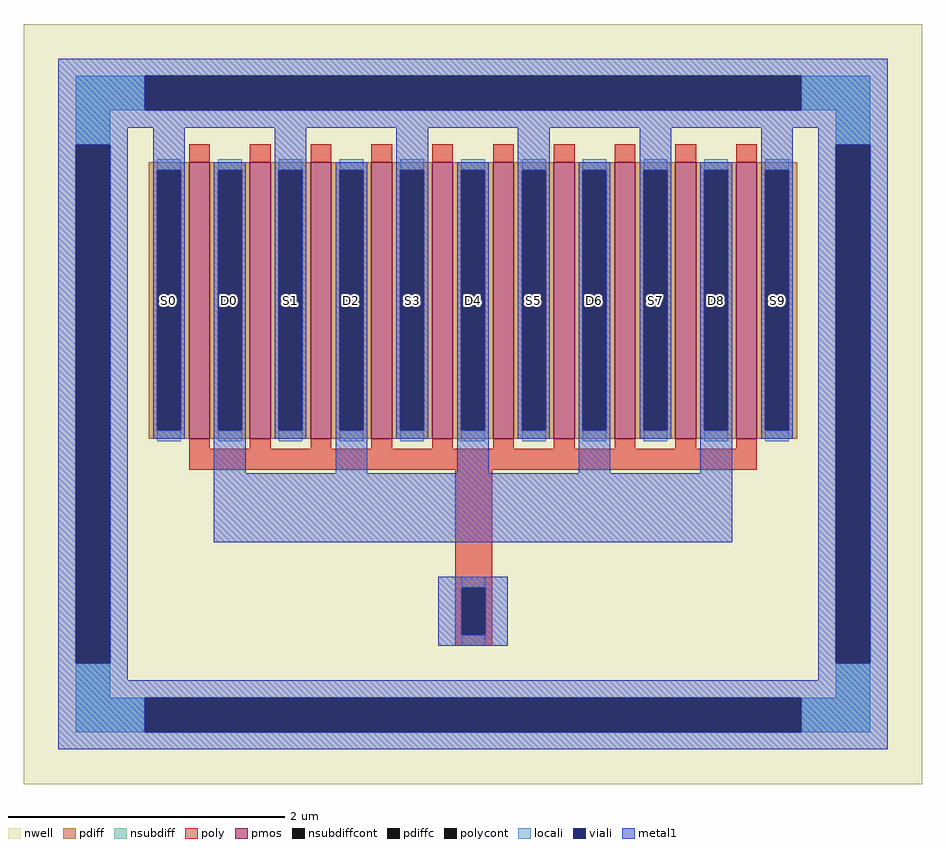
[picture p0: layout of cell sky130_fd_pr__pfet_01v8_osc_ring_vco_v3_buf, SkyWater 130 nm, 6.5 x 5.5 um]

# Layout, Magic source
magic
tech sky130A
magscale 1 2
<< nwell >>
rect -300 -350 1000 750
<< pmos >>
rect -61 150 -31 550
rect 27 150 57 550
rect 115 150 145 550
rect 203 150 233 550
rect 291 150 321 550
rect 379 150 409 550
rect 467 150 497 550
rect 555 150 585 550
rect 643 150 673 550
rect 731 150 761 550
<< pdiff >>
rect -119 538 -61 550
rect -119 162 -107 538
rect -73 162 -61 538
rect -119 150 -61 162
rect -31 538 27 550
rect -31 162 -19 538
rect 15 162 27 538
rect -31 150 27 162
rect 57 538 115 550
rect 57 162 69 538
rect 103 162 115 538
rect 57 150 115 162
rect 145 538 203 550
rect 145 162 157 538
rect 191 162 203 538
rect 145 150 203 162
rect 233 538 291 550
rect 233 162 245 538
rect 279 162 291 538
rect 233 150 291 162
rect 321 538 379 550
rect 321 162 333 538
rect 367 162 379 538
rect 321 150 379 162
rect 409 538 467 550
rect 409 162 421 538
rect 455 162 467 538
rect 409 150 467 162
rect 497 538 555 550
rect 497 162 509 538
rect 543 162 555 538
rect 497 150 555 162
rect 585 538 643 550
rect 585 162 597 538
rect 631 162 643 538
rect 585 150 643 162
rect 673 538 731 550
rect 673 162 685 538
rect 719 162 731 538
rect 673 150 731 162
rect 761 538 819 550
rect 761 162 773 538
rect 807 162 819 538
rect 761 150 819 162
<< pdiffc >>
rect -107 162 -73 538
rect -19 162 15 538
rect 69 162 103 538
rect 157 162 191 538
rect 245 162 279 538
rect 333 162 367 538
rect 421 162 455 538
rect 509 162 543 538
rect 597 162 631 538
rect 685 162 719 538
rect 773 162 807 538
<< nsubdiff >>
rect -225 625 -125 675
rect 825 625 925 675
rect -225 575 -175 625
rect 875 575 925 625
rect -225 -225 -175 -175
rect 875 -225 925 -175
rect -225 -275 -125 -225
rect 825 -275 925 -225
<< nsubdiffcont >>
rect -125 625 825 675
rect -225 -175 -175 575
rect 875 -175 925 575
rect -125 -275 825 -225
<< poly >>
rect -61 550 -31 576
rect 27 550 57 576
rect 115 550 145 576
rect 203 550 233 576
rect 291 550 321 576
rect 379 550 409 576
rect 467 550 497 576
rect 555 550 585 576
rect 643 550 673 576
rect 731 550 761 576
rect -61 135 -31 150
rect 27 135 57 150
rect 115 135 145 150
rect 203 135 233 150
rect 291 135 321 150
rect 379 135 409 150
rect 467 135 497 150
rect 555 135 585 150
rect 643 135 673 150
rect 731 135 761 150
rect -61 105 761 135
rect 324 -66 378 105
rect 324 -134 334 -66
rect 368 -134 378 -66
rect 324 -150 378 -134
<< polycont >>
rect 334 -134 368 -66
<< locali >>
rect -225 625 -125 675
rect 825 625 925 675
rect -225 575 -175 625
rect 875 575 925 625
rect -107 538 -73 554
rect -107 146 -73 162
rect -19 538 15 554
rect -19 146 15 162
rect 69 538 103 554
rect 69 146 103 162
rect 157 538 191 554
rect 157 146 191 162
rect 245 538 279 554
rect 245 146 279 162
rect 333 538 367 554
rect 333 146 367 162
rect 421 538 455 554
rect 421 146 455 162
rect 509 538 543 554
rect 509 146 543 162
rect 597 538 631 554
rect 597 146 631 162
rect 685 538 719 554
rect 685 146 719 162
rect 773 538 807 554
rect 773 146 807 162
rect 334 -66 368 -50
rect 334 -150 368 -134
rect -225 -225 -175 -175
rect 875 -225 925 -175
rect -225 -275 -125 -225
rect 825 -275 925 -225
<< viali >>
rect -125 625 825 675
rect -225 -175 -175 575
rect -107 162 -73 538
rect -19 162 15 538
rect 69 162 103 538
rect 157 162 191 538
rect 245 162 279 538
rect 333 162 367 538
rect 421 162 455 538
rect 509 162 543 538
rect 597 162 631 538
rect 685 162 719 538
rect 773 162 807 538
rect 334 -134 368 -66
rect 875 -175 925 575
rect -125 -275 825 -225
<< metal1 >>
rect -250 675 950 700
rect -250 625 -125 675
rect 825 625 950 675
rect -250 600 950 625
rect -250 575 -150 600
rect -250 -175 -225 575
rect -175 -175 -150 575
rect -113 538 -67 600
rect -113 162 -107 538
rect -73 162 -67 538
rect -113 150 -67 162
rect -25 538 21 550
rect -25 162 -19 538
rect 15 162 21 538
rect -25 100 21 162
rect 63 538 109 600
rect 63 162 69 538
rect 103 162 109 538
rect 63 150 109 162
rect 151 538 197 550
rect 151 162 157 538
rect 191 162 197 538
rect 151 100 197 162
rect 239 538 285 600
rect 239 162 245 538
rect 279 162 285 538
rect 239 150 285 162
rect 327 538 373 550
rect 327 162 333 538
rect 367 162 373 538
rect 327 100 373 162
rect 415 538 461 600
rect 415 162 421 538
rect 455 162 461 538
rect 415 150 461 162
rect 503 538 549 550
rect 503 162 509 538
rect 543 162 549 538
rect 503 100 549 162
rect 591 538 637 600
rect 591 162 597 538
rect 631 162 637 538
rect 591 150 637 162
rect 679 538 725 550
rect 679 162 685 538
rect 719 162 725 538
rect 679 100 725 162
rect 767 538 813 600
rect 767 162 773 538
rect 807 162 813 538
rect 767 150 813 162
rect 850 575 950 600
rect -25 0 725 100
rect 300 -66 400 -50
rect 300 -134 334 -66
rect 368 -134 400 -66
rect 300 -150 400 -134
rect -250 -200 -150 -175
rect 850 -175 875 575
rect 925 -175 950 575
rect 850 -200 950 -175
rect -250 -225 950 -200
rect -250 -275 -125 -225
rect 825 -275 950 -225
rect -250 -300 950 -275
<< labels >>
rlabel pdiffc -3 350 -3 350 0 D0
port 9 nsew
rlabel pdiffc -3 350 -3 350 0 D1
port 12 nsew
rlabel pdiffc -90 350 -90 350 0 S0
port 10 nsew
rlabel pdiffc 86 350 86 350 0 S1
port 13 nsew
rlabel pdiffc 174 350 174 350 0 D2
port 39 nsew
rlabel pdiffc 86 350 86 350 0 S2
port 40 nsew
rlabel pdiffc 174 350 174 350 0 D3
port 42 nsew
rlabel pdiffc 262 350 262 350 0 S3
port 43 nsew
rlabel pdiffc 350 350 350 350 0 D4
port 45 nsew
rlabel pdiffc 262 350 262 350 0 S4
port 46 nsew
rlabel pdiffc 350 350 350 350 0 D5
port 48 nsew
rlabel pdiffc 438 350 438 350 0 S5
port 49 nsew
rlabel pdiffc 438 350 438 350 0 S6
port 52 nsew
rlabel pdiffc 526 350 526 350 0 D6
port 51 nsew
rlabel pdiffc 526 350 526 350 0 D7
port 54 nsew
rlabel pdiffc 614 350 614 350 0 S7
port 55 nsew
rlabel pdiffc 702 350 702 350 0 D8
port 57 nsew
rlabel pdiffc 614 350 614 350 0 S8
port 58 nsew
rlabel pdiffc 790 350 790 350 0 S9
port 61 nsew
rlabel pdiffc 702 350 702 350 0 D9
port 60 nsew
<< end >>
